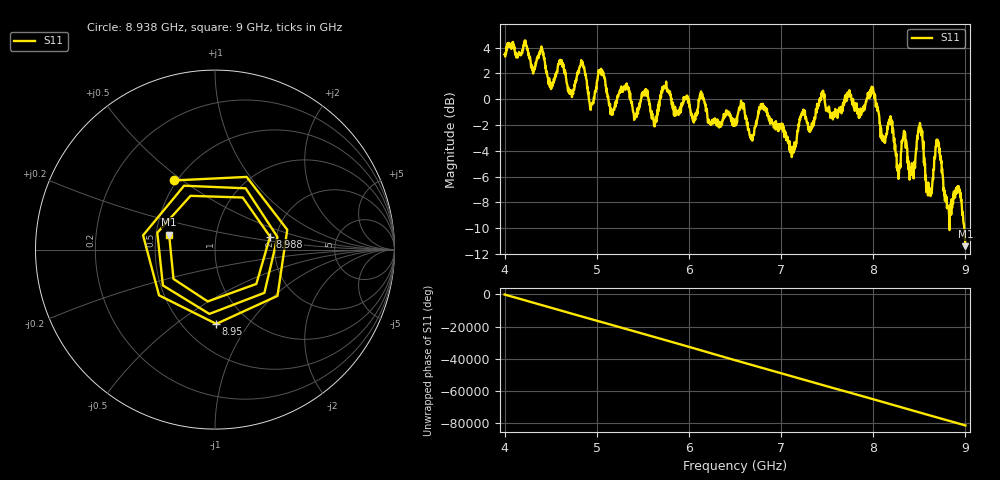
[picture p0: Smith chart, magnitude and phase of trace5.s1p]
! Created with skrf 1.8.0 (http://scikit-rf.org).
# Hz S RI R 50.0
!freq ReS11 ImS11
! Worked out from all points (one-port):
!   1601 points, 4 GHz to 9 GHz, reference 50 ohm
!   lowest |S11| = -11.4 dB at 9 GHz (marker M1), VSWR 1.74, Z = 29.3 + j5.3 ohm
!   |S11| at or under -10 dB: 8.82761 GHz to 8.828308 GHz (697.9 kHz wide, 0.00791 % of centre); 8.98768 GHz to end of sweep
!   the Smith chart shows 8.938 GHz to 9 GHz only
!   S11 on the Smith chart (normalised r, x): 8.938 GHz: 0.48, +0.47; 8.95 GHz: 0.72, -0.72; 8.988 GHz: 1.85, +0.30; 9 GHz: 0.59, +0.11
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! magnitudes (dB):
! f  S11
! 4 GHz  3.5
! 4.5 GHz  1.3
! 4.625 GHz  2.7
! 4.719 GHz  0.6
! 4.844 GHz  2.8
! 4.941 GHz  -0.4
! 5.044 GHz  2.1
! 5.159 GHz  -1.2
! 5.25 GHz  0.7
! 5.875 GHz  -1.1
! 6.5 GHz  -1.9
! 6.578 GHz  -0.5
! 6.681 GHz  -2.9
! 6.806 GHz  -0.7
! 7.125 GHz  -4.2
! 7.234 GHz  -1.0
! 7.75 GHz  0.2
! 7.994 GHz  0.9
! 8.106 GHz  -3.2
! 8.375 GHz  -4.5
! 8.509 GHz  -1.9
! 8.6 GHz  -6.8
! 8.7 GHz  -3.6
! 8.812 GHz  -8.4
! 8.938 GHz  -7.0
! 8.95 GHz  -7.7
! 8.988 GHz  -10.0
! 9 GHz  -11.4
